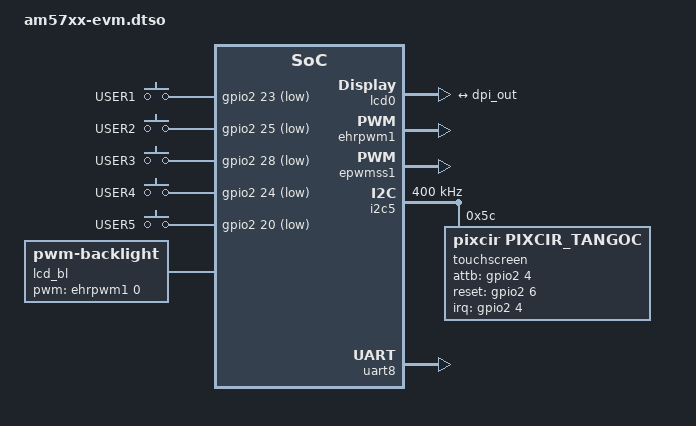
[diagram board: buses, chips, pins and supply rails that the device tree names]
// SPDX-License-Identifier: GPL-2.0
/*
 * DT overlay for AM57xx GP EVM boards
 *
 * Copyright (C) 2020-2022 Texas Instruments Incorporated - https://www.ti.com/
 */

/dts-v1/;
/plugin/;

#include <dt-bindings/interrupt-controller/irq.h>
#include <dt-bindings/gpio/gpio.h>
#include <dt-bindings/input/input.h>

&{/} {
	compatible = "ti,am5728-evm", "ti,am572x-beagle-x15", "ti,am5728", "ti,dra742", "ti,dra74", "ti,dra7";
	model = "TI AM5728 EVM";

	aliases {
		display0 = "/display";
		display1 = "/connector"; // Fixme: &lcd0 and &hdmi0 could be
					 // resolved here correcly based on
					 // information in the base dtb symbol
					 // table with a fix in dtc
	};

	gpio-keys {
		compatible = "gpio-keys";

		button-user1 {
			gpios = <&gpio2 23 GPIO_ACTIVE_LOW>;
			label = "USER1";
			linux,code = <BTN_1>;
		};

		button-user2 {
			gpios = <&gpio2 25 GPIO_ACTIVE_LOW>;
			label = "USER2";
			linux,code = <BTN_2>;
		};

		button-user3 {
			gpios = <&gpio2 28 GPIO_ACTIVE_LOW>;
			label = "USER3";
			linux,code = <BTN_3>;
		};

		button-user4 {
			gpios = <&gpio2 24 GPIO_ACTIVE_LOW>;
			label = "USER4";
			linux,code = <BTN_4>;
		};

		button-user5 {
			gpios = <&gpio2 20 GPIO_ACTIVE_LOW>;
			label = "USER5";
			linux,code = <BTN_5>;
		};
	};

	lcd0: display {
		compatible = "osddisplays,osd070t1718-19ts", "panel-dpi";
		backlight = <&lcd_bl>;
		enable-gpios = <&gpio2 5 GPIO_ACTIVE_HIGH>;
		label = "lcd";

		port {
			lcd_in: endpoint {
				remote-endpoint = <&dpi_out>;
			};
		};
	};

	lcd_bl: backlight {
		compatible = "pwm-backlight";
		brightness-levels = <0 243 245 247 249 251 252 253 255>;
		default-brightness-level = <8>;
		pwms = <&ehrpwm1 0 50000 0>;
	};
};

&ehrpwm1 {
	status = "okay";
};

&epwmss1 {
	status = "okay";
};

&i2c5 {
	status = "okay";
	clock-frequency = <400000>;

	#address-cells = <1>;
	#size-cells = <0>;

	touchscreen@5c {
		compatible = "pixcir,pixcir_tangoc";
		attb-gpio = <&gpio2 4 GPIO_ACTIVE_HIGH>;
		interrupt-parent = <&gpio2>;
		interrupts = <4 IRQ_TYPE_EDGE_FALLING>;
		reg = <0x5c>;
		reset-gpio = <&gpio2 6 GPIO_ACTIVE_HIGH>;
		touchscreen-size-x = <1024>;
		touchscreen-size-y = <600>;
	};
};

&uart8 {
	status = "okay";
};

&dss {
	ports {
		#address-cells = <1>;
		#size-cells = <0>;

		port@0 {
			reg = <0>;

			dpi_out: endpoint {
				data-lines = <24>;
				remote-endpoint = <&lcd_in>;
			};
		};
	};
};
